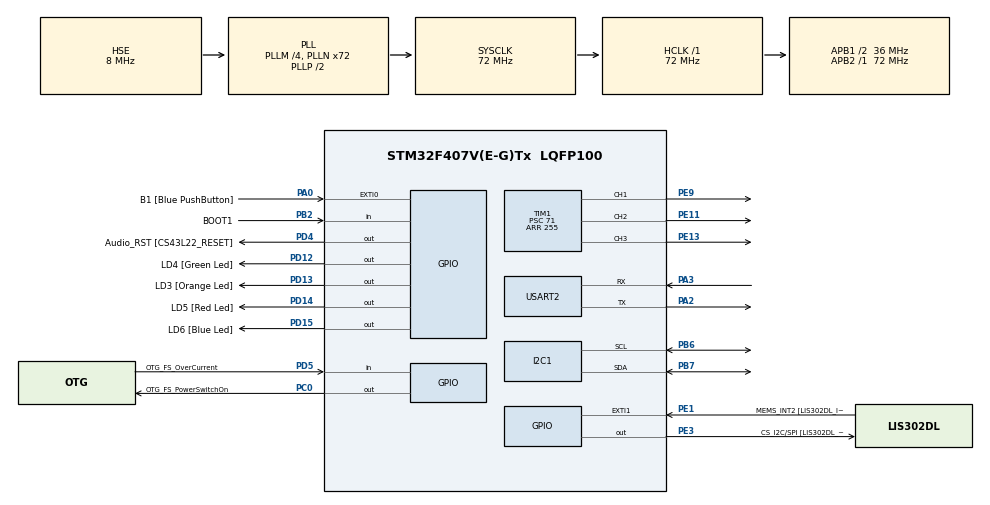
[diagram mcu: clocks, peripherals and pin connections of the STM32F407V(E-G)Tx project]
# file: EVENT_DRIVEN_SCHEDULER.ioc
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Mcu.Family=STM32F4
Mcu.Name=STM32F407V(E-G)Tx
Mcu.Package=LQFP100
NVIC.PriorityGroup=NVIC_PRIORITYGROUP_0
NVIC.USART2_IRQn=true\:0\:0\:false\:false\:true\:true\:true\:true
PA0-WKUP.GPIO_Label=B1 [Blue PushButton]
PA0-WKUP.Signal=GPXTI0
PA10.GPIO_Label=OTG_FS_ID
PA10.GPIO_Mode=GPIO_MODE_AF_PP
PA10.GPIO_PuPd=GPIO_NOPULL
PA10.GPIO_Speed=GPIO_SPEED_FREQ_LOW
PA10.Signal=USB_OTG_FS_ID
PA11.GPIO_Label=OTG_FS_DM
PA11.GPIO_Mode=GPIO_MODE_AF_PP
PA11.GPIO_PuPd=GPIO_NOPULL
PA11.GPIO_Speed=GPIO_SPEED_FREQ_LOW
PA11.Signal=USB_OTG_FS_DM
PA12.GPIO_Label=OTG_FS_DP
PA12.GPIO_Mode=GPIO_MODE_AF_PP
PA12.GPIO_PuPd=GPIO_NOPULL
PA12.GPIO_Speed=GPIO_SPEED_FREQ_LOW
PA12.Signal=USB_OTG_FS_DP
PA13.GPIO_Label=SWDIO
PA13.Signal=SYS_JTMS-SWDIO
PA14.GPIO_Label=SWCLK
PA14.Signal=SYS_JTCK-SWCLK
PA2.Mode=Asynchronous
PA2.Signal=USART2_TX
PA3.Mode=Asynchronous
PA3.Signal=USART2_RX
PA4.GPIO_Label=I2S3_WS [CS43L22_LRCK]
PA4.GPIO_Mode=GPIO_MODE_AF_PP
PA4.GPIO_PuPd=GPIO_NOPULL
PA4.GPIO_Speed=GPIO_SPEED_FREQ_LOW
PA4.Signal=I2S3_WS
PA5.GPIO_Label=SPI1_SCK [LIS302DL_SCL/SPC]
PA5.GPIO_Mode=GPIO_MODE_AF_PP
PA5.GPIO_PuPd=GPIO_NOPULL
PA5.GPIO_Speed=GPIO_SPEED_FREQ_LOW
PA5.Signal=SPI1_SCK
PA6.GPIO_Label=SPI1_MISO [LIS302DL_SDO]
PA6.GPIO_Mode=GPIO_MODE_AF_PP
PA6.GPIO_PuPd=GPIO_NOPULL
PA6.GPIO_Speed=GPIO_SPEED_FREQ_LOW
PA6.Signal=SPI1_MISO
PA7.GPIO_Label=SPI1_MOSI [LIS302DL_SDA/SDI/SDO]
PA7.GPIO_Mode=GPIO_MODE_AF_PP
PA7.GPIO_PuPd=GPIO_NOPULL
PA7.GPIO_Speed=GPIO_SPEED_FREQ_LOW
PA7.Signal=SPI1_MOSI
PA9.GPIO_Label=VBUS_FS
PA9.GPIO_Mode=GPIO_MODE_INPUT
PA9.GPIO_PuPd=GPIO_NOPULL
PA9.Signal=USB_OTG_FS_VBUS
PB10.GPIO_Label=CLK_IN [MP45DT02_CLK]
PB10.GPIO_Mode=GPIO_MODE_AF_PP
PB10.GPIO_PuPd=GPIO_NOPULL
PB10.GPIO_Speed=GPIO_SPEED_FREQ_LOW
PB10.Signal=I2S2_CK
PB2.GPIO_Label=BOOT1
PB2.GPIO_Mode=GPIO_MODE_INPUT
PB2.GPIO_PuPd=GPIO_NOPULL
PB2.Signal=GPIO_Input
PB3.GPIO_Label=SWO
PB3.Signal=SYS_JTDO-SWO
PB6.Mode=I2C
PB6.Signal=I2C1_SCL
PB7.Mode=I2C
PB7.Signal=I2C1_SDA
PC0.GPIO_Label=OTG_FS_PowerSwitchOn
PC0.GPIO_PuPd=GPIO_NOPULL
PC0.GPIO_Speed=GPIO_SPEED_FREQ_LOW
PC0.PinState=GPIO_PIN_SET
PC0.Signal=GPIO_Output
PC10.GPIO_Label=I2S3_SCK [CS43L22_SCLK]
PC10.GPIO_Mode=GPIO_MODE_AF_PP
PC10.GPIO_PuPd=GPIO_NOPULL
PC10.GPIO_Speed=GPIO_SPEED_FREQ_LOW
PC10.Signal=I2S3_CK
PC12.GPIO_Label=I2S3_SD [CS43L22_SDIN]
PC12.GPIO_Mode=GPIO_MODE_AF_PP
PC12.GPIO_PuPd=GPIO_NOPULL
PC12.GPIO_Speed=GPIO_SPEED_FREQ_LOW
PC12.Signal=I2S3_SD
PC14-OSC32_IN.GPIO_Label=PC14-OSC32_IN
PC14-OSC32_IN.Signal=RCC_OSC32_IN
PC15-OSC32_OUT.GPIO_Label=PC15-OSC32_OUT
PC15-OSC32_OUT.Signal=RCC_OSC32_OUT
PC3.GPIO_Label=PDM_OUT [MP45DT02_DOUT]
PC3.GPIO_Mode=GPIO_MODE_AF_PP
PC3.GPIO_PuPd=GPIO_NOPULL
PC3.GPIO_Speed=GPIO_SPEED_FREQ_LOW
PC3.Signal=I2S2_SD
PC7.GPIO_Label=I2S3_MCK [CS43L22_MCLK]
PC7.GPIO_Mode=GPIO_MODE_AF_PP
PC7.GPIO_PuPd=GPIO_NOPULL
PC7.GPIO_Speed=GPIO_SPEED_FREQ_LOW
PC7.Signal=I2S3_MCK
PD12.GPIO_Label=LD4 [Green Led]
PD12.GPIO_PuPd=GPIO_NOPULL
PD12.GPIO_Speed=GPIO_SPEED_FREQ_LOW
PD12.Signal=GPIO_Output
PD13.GPIO_Label=LD3 [Orange Led]
PD13.GPIO_PuPd=GPIO_NOPULL
PD13.GPIO_Speed=GPIO_SPEED_FREQ_LOW
PD13.Signal=GPIO_Output
PD14.GPIO_Label=LD5 [Red Led]
PD14.GPIO_PuPd=GPIO_NOPULL
PD14.GPIO_Speed=GPIO_SPEED_FREQ_LOW
PD14.Signal=GPIO_Output
PD15.GPIO_Label=LD6 [Blue Led]
PD15.GPIO_PuPd=GPIO_NOPULL
PD15.GPIO_Speed=GPIO_SPEED_FREQ_LOW
PD15.Signal=GPIO_Output
PD4.GPIO_Label=Audio_RST [CS43L22_RESET]
PD4.GPIO_PuPd=GPIO_NOPULL
PD4.GPIO_Speed=GPIO_SPEED_FREQ_LOW
PD4.Signal=GPIO_Output
PD5.GPIO_Label=OTG_FS_OverCurrent
PD5.GPIO_Mode=GPIO_MODE_INPUT
PD5.GPIO_PuPd=GPIO_NOPULL
PD5.Signal=GPIO_Input
PE1.GPIO_Label=MEMS_INT2 [LIS302DL_INT2]
PE1.GPIO_ModeDefaultEXTI=GPIO_MODE_EVT_RISING
PE1.GPIO_PuPd=GPIO_NOPULL
PE1.Signal=GPXTI1
PE11.Signal=S_TIM1_CH2
PE13.Signal=S_TIM1_CH3
PE3.GPIO_Label=CS_I2C/SPI [LIS302DL_CS_I2C/SPI]
PE3.GPIO_PuPd=GPIO_NOPULL
PE3.GPIO_Speed=GPIO_SPEED_FREQ_LOW
PE3.Signal=GPIO_Output
PE9.Signal=S_TIM1_CH1
PH0-OSC_IN.GPIO_Label=PH0-OSC_IN
PH0-OSC_IN.Mode=HSE-External-Oscillator
PH0-OSC_IN.Signal=RCC_OSC_IN
PH1-OSC_OUT.GPIO_Label=PH1-OSC_OUT
PH1-OSC_OUT.Mode=HSE-External-Oscillator
PH1-OSC_OUT.Signal=RCC_OSC_OUT
ProjectManager.HeapSize=0x200
ProjectManager.StackSize=0x400
ProjectManager.TargetToolchain=STM32CubeIDE
RCC.48MHZClocksFreq_Value=20571428.57142857
RCC.AHBFreq_Value=72000000
RCC.APB1CLKDivider=RCC_HCLK_DIV2
RCC.APB1Freq_Value=36000000
RCC.APB1TimFreq_Value=72000000
RCC.APB2Freq_Value=72000000
RCC.APB2TimFreq_Value=72000000
RCC.CortexFreq_Value=72000000
RCC.HCLKFreq_Value=72000000
RCC.HSE_VALUE=8000000
RCC.HSI_VALUE=16000000
RCC.LSE_VALUE=32768
RCC.PLLM=4
RCC.PLLN=72
RCC.PLLQ=7
RCC.PLLSourceVirtual=RCC_PLLSOURCE_HSE
RCC.SYSCLKFreq_VALUE=72000000
RCC.SYSCLKSource=RCC_SYSCLKSOURCE_PLLCLK
RCC.VCOOutputFreq_Value=144000000
SH.S_TIM1_CH1.0=TIM1_CH1,PWM Generation1 CH1
SH.S_TIM1_CH2.0=TIM1_CH2,PWM Generation2 CH2
SH.S_TIM1_CH3.0=TIM1_CH3,PWM Generation3 CH3
TIM1.Channel-PWM\ Generation1\ CH1=TIM_CHANNEL_1
TIM1.Channel-PWM\ Generation2\ CH2=TIM_CHANNEL_2
TIM1.Channel-PWM\ Generation3\ CH3=TIM_CHANNEL_3
TIM1.Period=255
TIM1.Prescaler=71
USART2.VirtualMode=VM_ASYNC
board=STM32F407G-DISC1

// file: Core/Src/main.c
/* USER CODE BEGIN Header */
/**
  ******************************************************************************
  * @file           : main.c
  * @brief          : Main program body
  ******************************************************************************
  * @attention
  *
  * Copyright (c) 2024 STMicroelectronics.
  * All rights reserved.
  *
  * This software is licensed under terms that can be found in the LICENSE file
  * in the root directory of this software component.
  * If no LICENSE file comes with this software, it is provided AS-IS.
  *
  ******************************************************************************
  */
/* USER CODE END Header */
#include "main.h"

I2C_HandleTypeDef hi2c1;

TIM_HandleTypeDef htim1;

UART_HandleTypeDef huart2;

/* USER CODE BEGIN PV */

float TempVal;
float HumidVal;
MPU6050_t AccelerationVal;
uint8_t dataRx;
uint8_t TASK_INIT_FLAG = 0;
Task_t pAllTask[4];
volatile TaskTimeParam_t TaskTime[4];
uint32_t relativeZeroTime = 0;

//uint32_t elapTime[4];

/* USER CODE END PV */

/* USER CODE BEGIN PFP */
void SystemClock_Config(void);
static void MX_GPIO_Init(void);
static void MX_TIM1_Init(void);
static void MX_USART2_UART_Init(void);
static void MX_I2C1_Init(void);

void TaskInit();
void TaskTimeInit();
void TaskGetTempandHumid();
void TaskGetAcceleration();
void TaskLCDDisplay();
void TaskSendDataUART();
int _write(int file, char *ptr, int len)
{
	HAL_UART_Transmit(&huart2, (uint8_t*)ptr, len, HAL_MAX_DELAY);
	return len;
}

/* USER CODE END PFP */

/* USER CODE BEGIN 0 */

void HAL_UART_RxCpltCallback(UART_HandleTypeDef * huart)
{
	HAL_UART_Receive_IT(&huart2, &dataRx, 1);
	if(recv_data(dataRx) == UART_RECEIVE_DONE)
	{
		uart_handle();
	}

}

/* USER CODE END 0 */

int main(void)
{

  /* MCU Configuration--------------------------------------------------------*/

  /* Reset of all peripherals, Initializes the Flash interface and the Systick. */
  HAL_Init();

  /* Configure the system clock */
  SystemClock_Config();

  /* Initialize all configured peripherals */
  MX_GPIO_Init();
  MX_TIM1_Init();
  MX_USART2_UART_Init();
  MX_I2C1_Init();

  /* USER CODE BEGIN 2 */
  HAL_UART_Receive_IT(&huart2, &dataRx, 1);
  SHT2x_Init(&hi2c1);
  MPU6050_Init(&hi2c1);
  lcd_init();
  LED_RGB_Init();
  uart_init(&huart2);
  TaskTimeInit();
  TaskInit();
  taskQueueInit(pAllTask, 4);
  //Flash_EraseSector(CMD_TASK_TIME_SECTOR);

  relativeZeroTime = HAL_GetTick();
  TASK_INIT_FLAG = 1;
  		//	__NVIC_SystemReset();

  /* USER CODE END 2 */

  /* Infinite loop */
  /* USER CODE BEGIN WHILE */
  while (1)
  {
	  if(taskQueueIsEmpty() == QUEUE_EMPTY)
	  {
		  //sleep or NOP
	  }
	  else
	  {
		  Task_t task = taskQueuePop();
		  (*task.taskHandler)();

	  }
//	  uint32_t tempTime = HAL_GetTick();
//	  TaskGetAcceleration();
//	  elapTime[0] = HAL_GetTick() - tempTime;
//	  tempTime = HAL_GetTick() ;
//	  TaskGetTempandHumid();
//	  elapTime[1] = HAL_GetTick() - tempTime;
//	  tempTime = HAL_GetTick();
//	  TaskLCDDisplay();
//	  elapTime[2] = HAL_GetTick() - tempTime;
//	  tempTime = HAL_GetTick();
//	  TaskSendDataUART();
//	  elapTime[3] = HAL_GetTick() - tempTime;
//	  HAL_Delay(1000);

    /* USER CODE END WHILE */

  }
}

void TaskGetTempandHumid()
{
	TempVal = SHT2x_GetTemperature(1);
	HumidVal = SHT2x_GetRelativeHumidity(1);
}
void TaskGetAcceleration()
{
	MPU6050_Read_Accel(&hi2c1, &AccelerationVal);
}
void TaskSendDataUART()
{
	printf("Temp: %.2f, Humid: %.2f\n", TempVal, HumidVal);
	printf("Accel: Ax = %.2f, Ay = %.2f, Az = %.2f\n", AccelerationVal.Ax, AccelerationVal.Ay, AccelerationVal.Az);
}
void TaskLCDDisplay()
{

	char displayStr[16];
	lcd_goto_XY(1, 1);
	sprintf(displayStr, "T=%.2f H=%.2f", TempVal, HumidVal);
	lcd_send_string(displayStr);

	lcd_goto_XY(2, 1);
	sprintf(displayStr, "%.2f %.2f %.2f", AccelerationVal.Ax, AccelerationVal.Ay, AccelerationVal.Az);
	lcd_send_string(displayStr);
}

void TaskTimeInit()
{
	for(uint32_t i = 0u; i < 4u; i++)
	{
		TaskTime[i].Deadline = Flash_Read_Int((CMD_TASK_TIME_ADDR + i*4));
		TaskTime[i].Phase    = Flash_Read_Int((CMD_TASK_TIME_ADDR + i*4 + CMD_TASK_TIME_PHASE_OFFSET));
		TaskTime[i].Period   = Flash_Read_Int((CMD_TASK_TIME_ADDR + i*4 + CMD_TASK_TIME_PERIOD_OFFSET));
	}
}
void TaskInit()
{
	Task_t temp;

	temp.Deadline = TaskTime[0].Deadline;
	temp.taskHandler = TaskGetTempandHumid;
	pAllTask[0] = temp;

	temp.Deadline = TaskTime[1].Deadline;
	temp.taskHandler = TaskGetAcceleration;
	pAllTask[1] = temp;

	temp.Deadline = TaskTime[2].Deadline;
	temp.taskHandler = TaskLCDDisplay;
	pAllTask[2] = temp;

	temp.Deadline = TaskTime[3].Deadline;
	temp.Deadline = 100;
	temp.taskHandler = TaskSendDataUART;
	pAllTask[3] = temp;

}

void SystemClock_Config(void)
{
  RCC_OscInitTypeDef RCC_OscInitStruct = {0};
  RCC_ClkInitTypeDef RCC_ClkInitStruct = {0};

  /** Configure the main internal regulator output voltage
  */
  __HAL_RCC_PWR_CLK_ENABLE();
  __HAL_PWR_VOLTAGESCALING_CONFIG(PWR_REGULATOR_VOLTAGE_SCALE1);

  /** Initializes the RCC Oscillators according to the specified parameters
  * in the RCC_OscInitTypeDef structure.
  */
  RCC_OscInitStruct.OscillatorType = RCC_OSCILLATORTYPE_HSE;
  RCC_OscInitStruct.HSEState = RCC_HSE_ON;
  RCC_OscInitStruct.PLL.PLLState = RCC_PLL_ON;
  RCC_OscInitStruct.PLL.PLLSource = RCC_PLLSOURCE_HSE;
  RCC_OscInitStruct.PLL.PLLM = 4;
  RCC_OscInitStruct.PLL.PLLN = 72;
  RCC_OscInitStruct.PLL.PLLP = RCC_PLLP_DIV2;
  RCC_OscInitStruct.PLL.PLLQ = 7;
  if (HAL_RCC_OscConfig(&RCC_OscInitStruct) != HAL_OK)
  {
    Error_Handler();
  }

  /** Initializes the CPU, AHB and APB buses clocks
  */
  RCC_ClkInitStruct.ClockType = RCC_CLOCKTYPE_HCLK|RCC_CLOCKTYPE_SYSCLK
                              |RCC_CLOCKTYPE_PCLK1|RCC_CLOCKTYPE_PCLK2;
  RCC_ClkInitStruct.SYSCLKSource = RCC_SYSCLKSOURCE_PLLCLK;
  RCC_ClkInitStruct.AHBCLKDivider = RCC_SYSCLK_DIV1;
  RCC_ClkInitStruct.APB1CLKDivider = RCC_HCLK_DIV2;
  RCC_ClkInitStruct.APB2CLKDivider = RCC_HCLK_DIV1;

  if (HAL_RCC_ClockConfig(&RCC_ClkInitStruct, FLASH_LATENCY_2) != HAL_OK)
  {
    Error_Handler();
  }
}

static void MX_I2C1_Init(void)
{

  hi2c1.Instance = I2C1;
  hi2c1.Init.ClockSpeed = 100000;
  hi2c1.Init.DutyCycle = I2C_DUTYCYCLE_2;
  hi2c1.Init.OwnAddress1 = 0;
  hi2c1.Init.AddressingMode = I2C_ADDRESSINGMODE_7BIT;
  hi2c1.Init.DualAddressMode = I2C_DUALADDRESS_DISABLE;
  hi2c1.Init.OwnAddress2 = 0;
  hi2c1.Init.GeneralCallMode = I2C_GENERALCALL_DISABLE;
  hi2c1.Init.NoStretchMode = I2C_NOSTRETCH_DISABLE;
  if (HAL_I2C_Init(&hi2c1) != HAL_OK)
  {
    Error_Handler();
  }

}

static void MX_TIM1_Init(void)
{

  TIM_MasterConfigTypeDef sMasterConfig = {0};
  TIM_OC_InitTypeDef sConfigOC = {0};
  TIM_BreakDeadTimeConfigTypeDef sBreakDeadTimeConfig = {0};

  htim1.Instance = TIM1;
  htim1.Init.Prescaler = 71;
  htim1.Init.CounterMode = TIM_COUNTERMODE_UP;
  htim1.Init.Period = 255;
  htim1.Init.ClockDivision = TIM_CLOCKDIVISION_DIV1;
  htim1.Init.RepetitionCounter = 0;
  htim1.Init.AutoReloadPreload = TIM_AUTORELOAD_PRELOAD_DISABLE;
  if (HAL_TIM_PWM_Init(&htim1) != HAL_OK)
  {
    Error_Handler();
  }
  sMasterConfig.MasterOutputTrigger = TIM_TRGO_RESET;
  sMasterConfig.MasterSlaveMode = TIM_MASTERSLAVEMODE_DISABLE;
  if (HAL_TIMEx_MasterConfigSynchronization(&htim1, &sMasterConfig) != HAL_OK)
  {
    Error_Handler();
  }
  sConfigOC.OCMode = TIM_OCMODE_PWM1;
  sConfigOC.Pulse = 0;
  sConfigOC.OCPolarity = TIM_OCPOLARITY_HIGH;
  sConfigOC.OCNPolarity = TIM_OCNPOLARITY_HIGH;
  sConfigOC.OCFastMode = TIM_OCFAST_DISABLE;
  sConfigOC.OCIdleState = TIM_OCIDLESTATE_RESET;
  sConfigOC.OCNIdleState = TIM_OCNIDLESTATE_RESET;
  if (HAL_TIM_PWM_ConfigChannel(&htim1, &sConfigOC, TIM_CHANNEL_1) != HAL_OK)
  {
    Error_Handler();
  }
  if (HAL_TIM_PWM_ConfigChannel(&htim1, &sConfigOC, TIM_CHANNEL_2) != HAL_OK)
  {
    Error_Handler();
  }
  if (HAL_TIM_PWM_ConfigChannel(&htim1, &sConfigOC, TIM_CHANNEL_3) != HAL_OK)
  {
    Error_Handler();
  }
  sBreakDeadTimeConfig.OffStateRunMode = TIM_OSSR_DISABLE;
  sBreakDeadTimeConfig.OffStateIDLEMode = TIM_OSSI_DISABLE;
  sBreakDeadTimeConfig.LockLevel = TIM_LOCKLEVEL_OFF;
  sBreakDeadTimeConfig.DeadTime = 0;
  sBreakDeadTimeConfig.BreakState = TIM_BREAK_DISABLE;
  sBreakDeadTimeConfig.BreakPolarity = TIM_BREAKPOLARITY_HIGH;
  sBreakDeadTimeConfig.AutomaticOutput = TIM_AUTOMATICOUTPUT_DISABLE;
  if (HAL_TIMEx_ConfigBreakDeadTime(&htim1, &sBreakDeadTimeConfig) != HAL_OK)
  {
    Error_Handler();
  }
  HAL_TIM_MspPostInit(&htim1);

}

static void MX_USART2_UART_Init(void)
{

  huart2.Instance = USART2;
  huart2.Init.BaudRate = 115200;
  huart2.Init.WordLength = UART_WORDLENGTH_8B;
  huart2.Init.StopBits = UART_STOPBITS_1;
  huart2.Init.Parity = UART_PARITY_NONE;
  huart2.Init.Mode = UART_MODE_TX_RX;
  huart2.Init.HwFlowCtl = UART_HWCONTROL_NONE;
  huart2.Init.OverSampling = UART_OVERSAMPLING_16;
  if (HAL_UART_Init(&huart2) != HAL_OK)
  {
    Error_Handler();
  }

}

static void MX_GPIO_Init(void)
{
  GPIO_InitTypeDef GPIO_InitStruct = {0};

  /* GPIO Ports Clock Enable */
  __HAL_RCC_GPIOE_CLK_ENABLE();
  __HAL_RCC_GPIOC_CLK_ENABLE();
  __HAL_RCC_GPIOH_CLK_ENABLE();
  __HAL_RCC_GPIOA_CLK_ENABLE();
  __HAL_RCC_GPIOB_CLK_ENABLE();
  __HAL_RCC_GPIOD_CLK_ENABLE();

  /*Configure GPIO pin Output Level */
  HAL_GPIO_WritePin(CS_I2C_SPI_GPIO_Port, CS_I2C_SPI_Pin, GPIO_PIN_RESET);

  /*Configure GPIO pin Output Level */
  HAL_GPIO_WritePin(OTG_FS_PowerSwitchOn_GPIO_Port, OTG_FS_PowerSwitchOn_Pin, GPIO_PIN_SET);

  /*Configure GPIO pin Output Level */
  HAL_GPIO_WritePin(GPIOD, LD4_Pin|LD3_Pin|LD5_Pin|LD6_Pin
                          |Audio_RST_Pin, GPIO_PIN_RESET);

  /*Configure GPIO pin : CS_I2C_SPI_Pin */
  GPIO_InitStruct.Pin = CS_I2C_SPI_Pin;
  GPIO_InitStruct.Mode = GPIO_MODE_OUTPUT_PP;
  GPIO_InitStruct.Pull = GPIO_NOPULL;
  GPIO_InitStruct.Speed = GPIO_SPEED_FREQ_LOW;
  HAL_GPIO_Init(CS_I2C_SPI_GPIO_Port, &GPIO_InitStruct);

  /*Configure GPIO pin : OTG_FS_PowerSwitchOn_Pin */
  GPIO_InitStruct.Pin = OTG_FS_PowerSwitchOn_Pin;
  GPIO_InitStruct.Mode = GPIO_MODE_OUTPUT_PP;
  GPIO_InitStruct.Pull = GPIO_NOPULL;
  GPIO_InitStruct.Speed = GPIO_SPEED_FREQ_LOW;
  HAL_GPIO_Init(OTG_FS_PowerSwitchOn_GPIO_Port, &GPIO_InitStruct);

  /*Configure GPIO pin : PDM_OUT_Pin */
  GPIO_InitStruct.Pin = PDM_OUT_Pin;
  GPIO_InitStruct.Mode = GPIO_MODE_AF_PP;
  GPIO_InitStruct.Pull = GPIO_NOPULL;
  GPIO_InitStruct.Speed = GPIO_SPEED_FREQ_LOW;
  GPIO_InitStruct.Alternate = GPIO_AF5_SPI2;
  HAL_GPIO_Init(PDM_OUT_GPIO_Port, &GPIO_InitStruct);

  /*Configure GPIO pin : B1_Pin */
  GPIO_InitStruct.Pin = B1_Pin;
  GPIO_InitStruct.Mode = GPIO_MODE_IT_RISING;
  GPIO_InitStruct.Pull = GPIO_NOPULL;
  HAL_GPIO_Init(B1_GPIO_Port, &GPIO_InitStruct);

  /*Configure GPIO pin : I2S3_WS_Pin */
  GPIO_InitStruct.Pin = I2S3_WS_Pin;
  GPIO_InitStruct.Mode = GPIO_MODE_AF_PP;
  GPIO_InitStruct.Pull = GPIO_NOPULL;
  GPIO_InitStruct.Speed = GPIO_SPEED_FREQ_LOW;
  GPIO_InitStruct.Alternate = GPIO_AF6_SPI3;
  HAL_GPIO_Init(I2S3_WS_GPIO_Port, &GPIO_InitStruct);

  /*Configure GPIO pins : SPI1_SCK_Pin SPI1_MISO_Pin SPI1_MOSI_Pin */
  GPIO_InitStruct.Pin = SPI1_SCK_Pin|SPI1_MISO_Pin|SPI1_MOSI_Pin;
  GPIO_InitStruct.Mode = GPIO_MODE_AF_PP;
  GPIO_InitStruct.Pull = GPIO_NOPULL;
  GPIO_InitStruct.Speed = GPIO_SPEED_FREQ_LOW;
  GPIO_InitStruct.Alternate = GPIO_AF5_SPI1;
  HAL_GPIO_Init(GPIOA, &GPIO_InitStruct);

  /*Configure GPIO pin : BOOT1_Pin */
  GPIO_InitStruct.Pin = BOOT1_Pin;
  GPIO_InitStruct.Mode = GPIO_MODE_INPUT;
  GPIO_InitStruct.Pull = GPIO_NOPULL;
  HAL_GPIO_Init(BOOT1_GPIO_Port, &GPIO_InitStruct);

  /*Configure GPIO pin : CLK_IN_Pin */
  GPIO_InitStruct.Pin = CLK_IN_Pin;
  GPIO_InitStruct.Mode = GPIO_MODE_AF_PP;
  GPIO_InitStruct.Pull = GPIO_NOPULL;
  GPIO_InitStruct.Speed = GPIO_SPEED_FREQ_LOW;
  GPIO_InitStruct.Alternate = GPIO_AF5_SPI2;
  HAL_GPIO_Init(CLK_IN_GPIO_Port, &GPIO_InitStruct);

  /*Configure GPIO pins : LD4_Pin LD3_Pin LD5_Pin LD6_Pin
                           Audio_RST_Pin */
  GPIO_InitStruct.Pin = LD4_Pin|LD3_Pin|LD5_Pin|LD6_Pin
                          |Audio_RST_Pin;
  GPIO_InitStruct.Mode = GPIO_MODE_OUTPUT_PP;
  GPIO_InitStruct.Pull = GPIO_NOPULL;
  GPIO_InitStruct.Speed = GPIO_SPEED_FREQ_LOW;
  HAL_GPIO_Init(GPIOD, &GPIO_InitStruct);

  /*Configure GPIO pins : I2S3_MCK_Pin I2S3_SCK_Pin I2S3_SD_Pin */
  GPIO_InitStruct.Pin = I2S3_MCK_Pin|I2S3_SCK_Pin|I2S3_SD_Pin;
  GPIO_InitStruct.Mode = GPIO_MODE_AF_PP;
  GPIO_InitStruct.Pull = GPIO_NOPULL;
  GPIO_InitStruct.Speed = GPIO_SPEED_FREQ_LOW;
  GPIO_InitStruct.Alternate = GPIO_AF6_SPI3;
  HAL_GPIO_Init(GPIOC, &GPIO_InitStruct);

  /*Configure GPIO pin : VBUS_FS_Pin */
  GPIO_InitStruct.Pin = VBUS_FS_Pin;
  GPIO_InitStruct.Mode = GPIO_MODE_INPUT;
  GPIO_InitStruct.Pull = GPIO_NOPULL;
  HAL_GPIO_Init(VBUS_FS_GPIO_Port, &GPIO_InitStruct);

  /*Configure GPIO pins : OTG_FS_ID_Pin OTG_FS_DM_Pin OTG_FS_DP_Pin */
  GPIO_InitStruct.Pin = OTG_FS_ID_Pin|OTG_FS_DM_Pin|OTG_FS_DP_Pin;
  GPIO_InitStruct.Mode = GPIO_MODE_AF_PP;
  GPIO_InitStruct.Pull = GPIO_NOPULL;
  GPIO_InitStruct.Speed = GPIO_SPEED_FREQ_LOW;
  GPIO_InitStruct.Alternate = GPIO_AF10_OTG_FS;
  HAL_GPIO_Init(GPIOA, &GPIO_InitStruct);

  /*Configure GPIO pin : OTG_FS_OverCurrent_Pin */
  GPIO_InitStruct.Pin = OTG_FS_OverCurrent_Pin;
  GPIO_InitStruct.Mode = GPIO_MODE_INPUT;
  GPIO_InitStruct.Pull = GPIO_NOPULL;
  HAL_GPIO_Init(OTG_FS_OverCurrent_GPIO_Port, &GPIO_InitStruct);

  /*Configure GPIO pin : MEMS_INT2_Pin */
  GPIO_InitStruct.Pin = MEMS_INT2_Pin;
  GPIO_InitStruct.Mode = GPIO_MODE_EVT_RISING;
  GPIO_InitStruct.Pull = GPIO_NOPULL;
  HAL_GPIO_Init(MEMS_INT2_GPIO_Port, &GPIO_InitStruct);

}

void Error_Handler(void)
{
  __disable_irq();
  while (1)
  {
  }
}
